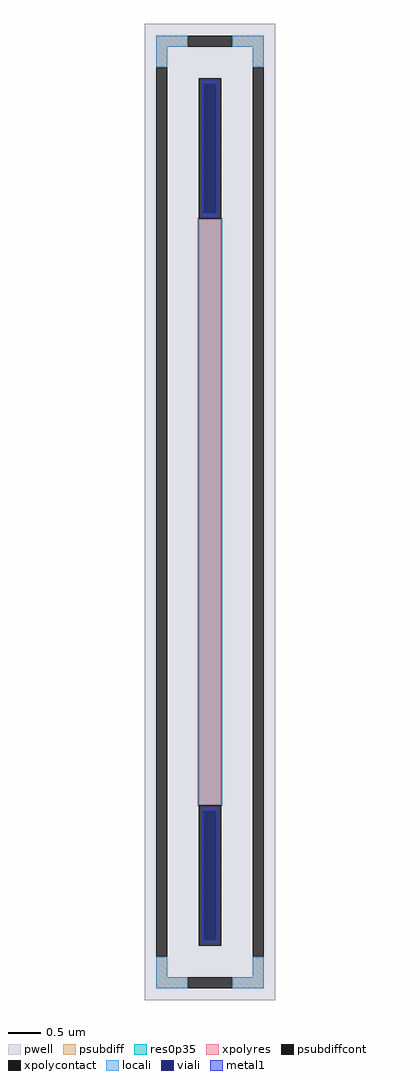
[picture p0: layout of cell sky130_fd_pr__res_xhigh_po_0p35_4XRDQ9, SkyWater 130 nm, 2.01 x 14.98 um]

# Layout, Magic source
magic
tech sky130A
magscale 1 2
<< pwell >>
rect -201 -1498 201 1498
<< psubdiff >>
rect -165 1428 -69 1462
rect 69 1428 165 1462
rect -165 1366 -131 1428
rect 131 1366 165 1428
rect -165 -1428 -131 -1366
rect 131 -1428 165 -1366
rect -165 -1462 -69 -1428
rect 69 -1462 165 -1428
<< psubdiffcont >>
rect -69 1428 69 1462
rect -165 -1366 -131 1366
rect 131 -1366 165 1366
rect -69 -1462 69 -1428
<< xpolycontact >>
rect -35 900 35 1332
rect -35 -1332 35 -900
<< xpolyres >>
rect -35 -900 35 900
<< locali >>
rect -165 1428 -69 1462
rect 69 1428 165 1462
rect -165 1366 -131 1428
rect 131 1366 165 1428
rect -165 -1428 -131 -1366
rect 131 -1428 165 -1366
rect -165 -1462 -69 -1428
rect 69 -1462 165 -1428
<< viali >>
rect -19 917 19 1314
rect -19 -1314 19 -917
<< metal1 >>
rect -25 1314 25 1326
rect -25 917 -19 1314
rect 19 917 25 1314
rect -25 905 25 917
rect -25 -917 25 -905
rect -25 -1314 -19 -917
rect 19 -1314 25 -917
rect -25 -1326 25 -1314
<< res0p35 >>
rect -37 -902 37 902
<< properties >>
string FIXED_BBOX -148 -1445 148 1445
string gencell sky130_fd_pr__res_xhigh_po_0p35
string library sky130
string parameters w 0.350 l 9 m 1 nx 1 wmin 0.350 lmin 0.50 rho 2000 val 52.504k dummy 0 dw 0.0 term 188.2 sterm 0.0 caplen 0 wmax 0.350 guard 1 glc 1 grc 1 gtc 1 gbc 1 compatible {sky130_fd_pr__res_xhigh_po_0p35  sky130_fd_pr__res_xhigh_po_0p69 sky130_fd_pr__res_xhigh_po_1p41  sky130_fd_pr__res_xhigh_po_2p85 sky130_fd_pr__res_xhigh_po_5p73} snake 0 full_metal 1 n_guard 0 hv_guard 0 vias 1 viagb 0 viagt 0 viagl 0 viagr 0
<< end >>
